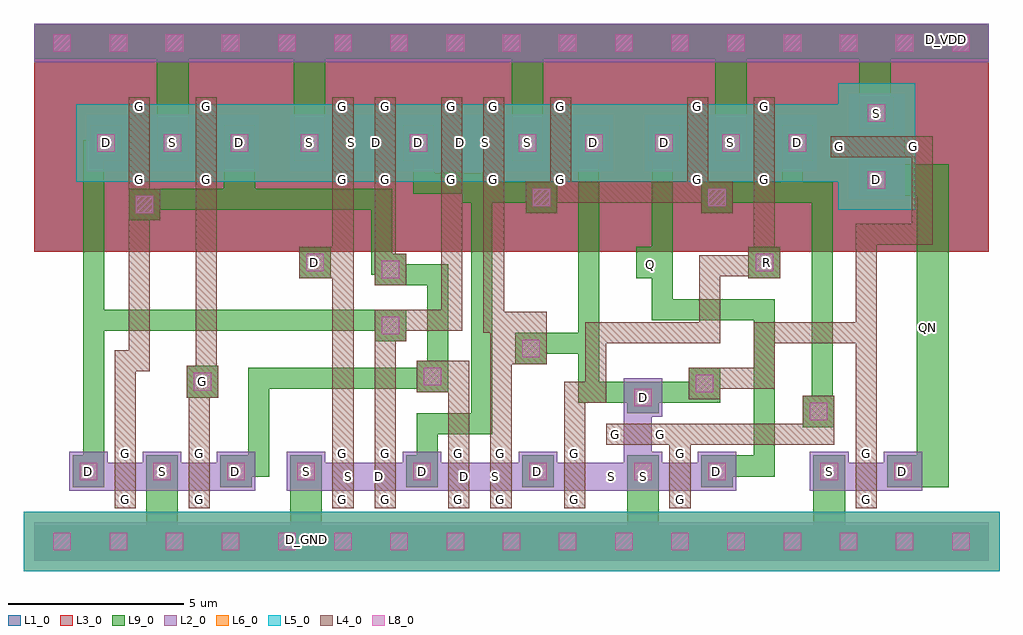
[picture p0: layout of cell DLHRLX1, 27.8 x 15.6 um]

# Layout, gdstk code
import gdstk
lib = gdstk.Library(unit=1e-6, precision=1e-09)
def R(c, l, rs):  # rectangles x0, y0, x1, y1
    for r in rs: c.add(gdstk.rectangle(r[:2], r[2:], *l))
def A(c, l, x, y, w, h, nx, ny, dx, dy):  # array of equal rectangles
    R(c, l, [(x+i*dx, y+j*dy, x+i*dx+w, y+j*dy+h) for i in range(nx) for j in range(ny)])
def P(c, l, *ps):  # polygons
    for p in ps: c.add(gdstk.Polygon(p, *l))
L1_0 = (1, 0)
L2_0 = (2, 0)
L3_0 = (3, 0)
L4_0 = (4, 0)
L5_0 = (5, 0)
L6_0 = (6, 0)
L8_0 = (8, 0)
L9_0 = (9, 0)

dlhrlx1 = lib.new_cell('DLHRLX1')
A(dlhrlx1, L1_0, 0, 8.8, 1.6, 6.5, 17, 1, 1.6, 0)
R(dlhrlx1, L1_0, [(21.7,8.8,26.3,14.8), (0,9.6,6,14.2), (1.9,9.6,7.9,14.2), (5.8,9.6,11.8,14.2), (7,9.6,13,14.2), (8.9,9.6,14.9,14.2), (10.1,9.6,16.1,14.2), (12,9.6,18,14.2), (15.9,9.6,21.9,14.2), (17.8,9.6,23.8,14.2)])
A(dlhrlx1, L2_0, 0, 0, 1.6, 1.1, 17, 2, 1.6, 14.2)
R(dlhrlx1, L2_0, [(1,2,2.1,3.1), (2.1,2,3.1,2.8), (3.1,2,4.2,3.1), (3.1,2,4.2,3.1), (4.2,2,5.2,2.8), (5.2,2,6.3,3.1), (7.2,2,8.3,3.1), (8.3,2,9.3,2.8), (8.4,2,9.5,2.8), (9.3,2,10.4,2.8), (9.5,2,10.5,2.8), (10.5,2,11.6,3.1), (10.5,2,11.6,3.1), (11.6,2,12.6,2.8), (11.7,2,12.8,2.8), (12.6,2,13.7,2.8), (12.8,2,13.8,2.8), (13.8,2,14.9,3.1), (13.8,2,14.9,3.1), (14.9,2,15.9,2.8), (15.9,2,17,2.8), (16.8,2,17.9,2.8), (16.8,2,17.9,3.1), (17.9,2,18.9,2.8), (18.9,2,20,3.1), (22.1,2,23.2,3.1), (23.2,2,24.2,2.8), (24.2,2,25.3,3.1), (16.8,3.1,17.6,4.1), (16.8,4.1,17.9,5.2), (23.2,10.3,24.8,11.4), (1.5,11.1,2.6,12.7), (2.6,11.1,3.4,12.7), (3.4,11.1,4.5,12.7), (3.4,11.1,4.5,12.7), (4.5,11.1,5.3,12.7), (5.3,11.1,6.4,12.7), (7.3,11.1,8.4,12.7), (8.4,11.1,9.2,12.7), (8.5,11.1,9.6,12.7), (9.2,11.1,10.3,12.7), (9.6,11.1,10.4,12.7), (10.4,11.1,11.5,12.7), (10.4,11.1,11.5,12.7), (11.5,11.1,12.3,12.7), (11.6,11.1,12.7,12.7), (12.3,11.1,13.4,12.7), (12.7,11.1,13.5,12.7), (13.5,11.1,14.6,12.7), (13.5,11.1,14.6,12.7), (14.6,11.1,15.4,12.7), (15.4,11.1,16.5,12.7), (17.4,11.1,18.5,12.7), (18.5,11.1,19.3,12.7), (19.3,11.1,20.4,12.7), (19.3,11.1,20.4,12.7), (20.4,11.1,21.2,12.7), (21.2,11.1,22.3,12.7), (23.2,11.4,24.8,12.2), (23.2,12.2,24.8,13.3)])
A(dlhrlx1, L3_0, 0, 8.8, 1.6, 6.5, 17, 1, 1.6, 0)
R(dlhrlx1, L3_0, [(21.7,8.8,26.3,14.8), (0,9.6,6,14.2), (1.9,9.6,7.9,14.2), (5.8,9.6,11.8,14.2), (7,9.6,13,14.2), (8.9,9.6,14.9,14.2), (10.1,9.6,16.1,14.2), (12,9.6,18,14.2), (15.9,9.6,21.9,14.2), (17.8,9.6,23.8,14.2)])
R(dlhrlx1, L4_0, [(2.3,1.5,2.9,3.3), (2.3,1.5,2.9,2), (4.4,1.5,5,3.3), (4.4,1.5,5,2), (8.5,1.5,9.1,3.3), (8.5,1.5,9.1,2), (9.7,1.5,10.3,3.3), (9.7,1.5,10.3,2), (11.8,1.5,12.4,3.3), (11.8,1.5,12.4,2), (13,1.5,13.6,3.3), (13,1.5,13.6,2), (15.1,1.5,15.7,3.3), (15.1,1.5,15.7,2), (18.1,1.5,18.7,3.3), (18.1,1.5,18.7,2), (23.4,1.5,24,3.3), (23.4,1.5,24,2), (13,2.7,13.6,6.5), (2.3,2.8,2.9,3.3), (4.4,2.8,5,3.3), (8.5,2.8,9.1,3.3), (9.7,2.8,10.3,3.3), (11.8,2.8,12.4,3.3), (13,2.8,13.6,3.3), (15.1,2.8,15.7,3.3), (18.1,2.8,18.7,3.3), (23.4,2.8,24,3.3), (2.3,3.3,2.9,6), (4.4,3.3,5,4.65), (8.5,3.3,9.1,11.1), (9.7,3.3,10.3,6.25), (16.3,3.3,16.8,3.9), (16.3,3.3,18.1,3.9), (17.6,3.3,18.1,3.9), (17.8,3.3,22.8,3.9), (21.9,3.8,22.8,4.7), (18.65,4.6,19.55,5.5), (4.35,4.65,5.25,5.55), (10.9,4.8,11.8,5.7), (18.65,4.9,21.1,5.5), (4.6,5.55,5.2,10.6), (13.25,5.6,14.6,6.5), (13.7,5.6,14.6,6.5), (9.7,6.25,10.6,7.15), (9.7,7.85,10.6,8.75), (7.55,8.05,8.45,8.95), (8.45,8.05,8.55,8.95), (20.35,8.05,21.25,8.95), (9.7,8.6,10.3,10.95), (2.7,9.7,3.6,10.6), (14,9.9,14.9,10.8), (19,9.9,19.9,10.8), (2.7,10.6,3.3,11.1), (2.7,10.6,3.3,13.2), (4.6,10.6,5.2,11.1), (4.6,10.6,5.2,13.2), (8.5,10.6,9.1,11.1), (8.5,10.6,9.1,13.2), (9.7,10.6,10.3,11.1), (9.7,10.6,10.3,13.2), (11.6,10.6,12.2,11.1), (11.6,10.6,12.2,13.2), (12.8,10.6,13.4,11.1), (12.8,10.6,13.4,13.2), (14.7,10.6,15.3,11.1), (14.7,10.6,15.3,13.2), (18.6,10.6,19.2,11.1), (18.6,10.6,19.2,13.2), (20.5,10.6,21.1,11.1), (20.5,10.6,21.1,13.2), (22.7,11.5,25.3,12.1), (22.7,11.5,23.2,12.1), (24.8,11.5,25.3,12.1), (2.7,12.7,3.3,13.2), (4.6,12.7,5.2,13.2), (8.5,12.7,9.1,13.2), (9.7,12.7,10.3,13.2), (11.6,12.7,12.2,13.2), (12.8,12.7,13.4,13.2), (14.7,12.7,15.3,13.2), (18.6,12.7,19.2,13.2), (20.5,12.7,21.1,13.2)])
P(dlhrlx1, L4_0, [(20.5,4.9),(21.1,4.9),(21.1,6.2),(24,6.2),(24,6.8),(20.5,6.8)],
  [(10.6,6.55),(12.2,6.55),(12.2,10.6),(11.6,10.6),(11.6,7.15),(10.6,7.15)],
  [(18.95,8.1),(21.1,8.1),(21.1,10.6),(20.5,10.6),(20.5,8.7),(18.95,8.7)],
  [(23.4,3.3),(24,3.3),(24,9),(25.6,9),(25.6,12.1),(25,12.1),(25,9.6),(23.4,9.6)],
  [(15.1,2.5),(15.7,2.5),(15.7,4.5),(16.3,4.5),(16.3,6.2),(19.55,6.2),(19.55,8.1),(18.95,8.1),(18.95,6.8),(15.7,6.8),(15.7,5.1),(15.1,5.1)],
  [(14.7,10.2),(19.2,10.2),(19.2,12.8),(18.6,12.8),(18.6,10.8),(14.7,10.8)],
  [(11.4,5.1),(11.8,5.1),(11.8,2.5),(12.4,2.5),(12.4,5.7),(11.4,5.7)],
  [(2.4,5.4),(3.3,5.4),(3.3,10.9),(2.7,10.9),(2.7,6),(2.4,6)],
  [(12.8,6.5),(14.6,6.5),(14.6,7.1),(13.4,7.1),(13.4,10.6),(12.8,10.6)])
A(dlhrlx1, L5_0, 1.6, -0.3, 1.6, 1.7, 15, 1, 1.6, 0)
R(dlhrlx1, L5_0, [(-0.3,-0.3,1.6,1.4), (25.6,-0.3,27.5,1.4), (22.9,10,25.1,13.6), (1.2,10.8,4.8,13), (3.1,10.8,6.7,13), (6.4,10.8,7.25,13), (7,10.8,10.6,13), (8.2,10.8,11.8,13), (10.1,10.8,13.7,13), (11.3,10.8,14.9,13), (13.2,10.8,16.8,13), (16.4,10.8,17.45,13), (17.1,10.8,20.7,13), (19,10.8,22.6,13), (22.3,10.8,23.15,13)])
A(dlhrlx1, L6_0, 1.6, -0.3, 1.6, 1.7, 15, 1, 1.6, 0)
R(dlhrlx1, L6_0, [(-0.3,-0.3,1.6,1.4), (25.6,-0.3,27.5,1.4), (22.9,10,25.1,13.6), (1.2,10.8,4.8,13), (3.1,10.8,6.7,13), (6.2,10.8,7.35,13), (7,10.8,10.6,13), (8.2,10.8,11.8,13), (10.1,10.8,13.7,13), (11.3,10.8,14.9,13), (13.2,10.8,16.8,13), (16.4,10.8,17.45,13), (17.1,10.8,20.7,13), (19,10.8,22.6,13), (22.1,10.8,23.25,13)])
A(dlhrlx1, L8_0, 0.55, 0.3, 0.5, 0.5, 17, 2, 1.6, 14.2)
R(dlhrlx1, L8_0, [(1.3,2.3,1.8,2.8), (3.4,2.3,3.9,2.8), (3.4,2.3,3.9,2.8), (5.5,2.3,6,2.8), (7.5,2.3,8,2.8), (10.8,2.3,11.3,2.8), (10.8,2.3,11.3,2.8), (14.1,2.3,14.6,2.8), (14.1,2.3,14.6,2.8), (17.1,2.3,17.6,2.8), (19.2,2.3,19.7,2.8), (22.4,2.3,22.9,2.8), (24.5,2.3,25,2.8), (22.1,4,22.6,4.5), (17.1,4.4,17.6,4.9), (18.85,4.8,19.35,5.3), (4.55,4.85,5.05,5.35), (11.1,5,11.6,5.5), (13.9,5.8,14.4,6.3), (9.9,6.45,10.4,6.95), (9.9,8.05,10.4,8.55), (7.75,8.25,8.25,8.75), (20.55,8.25,21.05,8.75), (2.9,9.9,3.4,10.4), (14.2,10.1,14.7,10.6), (19.2,10.1,19.7,10.6), (23.75,10.6,24.25,11.1), (1.8,11.65,2.3,12.15), (3.7,11.65,4.2,12.15), (3.7,11.65,4.2,12.15), (5.6,11.65,6.1,12.15), (7.6,11.65,8.1,12.15), (10.7,11.65,11.2,12.15), (10.7,11.65,11.2,12.15), (13.8,11.65,14.3,12.15), (13.8,11.65,14.3,12.15), (15.7,11.65,16.2,12.15), (17.7,11.65,18.2,12.15), (19.6,11.65,20.1,12.15), (19.6,11.65,20.1,12.15), (21.5,11.65,22,12.15), (23.75,12.5,24.25,13)])
A(dlhrlx1, L9_0, 0, 0, 1.6, 1, 17, 2, 1.6, 14.3)
R(dlhrlx1, L9_0, [(7.3,0,8.2,3), (7.45,0.3,8.05,0.9), (1.1,2.1,2,3), (3.2,2.1,4.1,3), (3.2,2.1,4.1,3), (5.3,2.1,6.2,3), (7.3,2.1,8.2,3), (10.6,2.1,11.5,3), (10.6,2.1,11.5,3), (13.9,2.1,14.8,3), (13.9,2.1,14.8,3), (16.9,2.1,17.8,3), (19,2.1,19.9,3), (22.2,2.1,23.1,3), (24.3,2.1,25.2,3), (21.9,3.8,22.8,4.7), (16.9,4.2,17.8,5.1), (16.6,4.5,19.55,5.1), (18.65,4.6,19.55,5.5), (4.35,4.65,5.25,5.55), (4.5,4.8,5.1,5.4), (10.9,4.8,11.8,5.7), (11.2,5.1,11.8,8.2), (13.7,5.6,14.6,6.5), (15.5,5.9,16.1,12.3), (9.7,6.25,10.6,7.15), (25.15,6.35,26.05,7.25), (1.7,6.55,9.8,7.15), (9.7,7.85,10.6,8.75), (9.75,7.85,11.8,8.45), (7.55,8.05,8.45,8.95), (17.15,8.05,18.05,8.95), (20.35,8.05,21.25,8.95), (7.7,8.2,8.3,8.8), (20.55,8.2,21.15,8.8), (17.6,8.3,18.2,11.8), (2.7,9.7,3.6,10.6), (14,9.9,14.9,10.8), (19,9.9,19.9,10.8), (5.4,10,6.3,12.3), (19.3,10.2,21.9,10.8), (21.3,10.2,21.9,12), (23.5,10.4,24.5,11.3), (1.6,11.4,2.5,12.4), (3.5,11.4,4.4,12.4), (3.5,11.4,4.4,12.4), (5.4,11.4,6.3,12.4), (7.4,11.4,8.3,12.4), (7.4,11.4,8.3,15.25), (10.5,11.4,11.4,12.4), (10.5,11.4,11.4,12.4), (13.6,11.4,14.5,12.4), (13.6,11.4,14.5,12.4), (13.6,11.4,14.5,15.25), (15.5,11.4,16.4,12.4), (17.5,11.4,18.4,12.4), (19.4,11.4,20.3,12.4), (19.4,11.4,20.3,12.4), (21.3,11.4,22.2,12.4), (3.5,11.5,4.4,15.2), (19.4,11.9,20.3,14.7), (23.5,12.3,24.5,13.2), (25.7,14.55,26.3,15.15)])
P(dlhrlx1, L9_0, [(21.5,0.1),(23.1,0.1),(23.1,3),(22.2,3),(22.2,1),(21.5,1)],
  [(21.3,10.2),(22.15,10.2),(22.15,4.1),(22.75,4.1),(22.75,10.8),(21.3,10.8)],
  [(1.4,2.4),(2,2.4),(2,11.4),(2.2,11.4),(2.2,12),(1.4,12)],
  [(2.3,0.1),(4.1,0.1),(4.1,3),(3.2,3),(3.2,1),(2.3,1)],
  [(10.8,10.45),(12.2,10.45),(12.2,10.2),(14.9,10.2),(14.9,10.8),(12.8,10.8),(12.8,11.05),(11.4,11.05),(11.4,12),(10.8,12)],
  [(10.9,2.4),(11.5,2.4),(11.5,3.6),(13.05,3.6),(13.05,10.8),(12.45,10.8),(12.45,4.2),(10.9,4.2)],
  [(13.7,5.75),(14.3,5.75),(14.3,5.9),(16.1,5.9),(16.1,6.5),(13.7,6.5)],
  [(15.5,4.5),(17.2,4.5),(17.2,5.1),(16.1,5.1),(16.1,6.5),(15.5,6.5)],
  [(23.6,10.4),(25.15,10.4),(25.15,3),(24.3,3),(24.3,2.1),(26.05,2.1),(26.05,11.3),(23.6,11.3)],
  [(16.9,0.1),(18.5,0.1),(18.5,1),(17.8,1),(17.8,3),(16.9,3)],
  [(17.45,8.05),(17.6,8.05),(17.6,6.85),(20.5,6.85),(20.5,3),(19.3,3),(19.3,2.4),(21.1,2.4),(21.1,7.45),(18.2,7.45),(18.2,8.65),(17.45,8.65)],
  [(3,10),(9.6,10),(9.6,8.15),(10.3,8.15),(10.3,8.75),(10.2,8.75),(10.2,10.6),(3,10.6)],
  [(23.5,12.3),(24.4,12.3),(24.4,14.3),(24.9,14.3),(24.9,15.2),(23.5,15.2)],
  [(5.6,2.4),(6.7,2.4),(6.7,4.9),(11.5,4.9),(11.5,5.5),(6.1,5.5),(6.1,3),(5.6,3)])
dlhrlx1.add(gdstk.Label('G', (12.1,1.752), layer=4, texttype=0))
dlhrlx1.add(gdstk.Label('G', (12.1,3.052), layer=4, texttype=0))
dlhrlx1.add(gdstk.Label('S', (13.151,2.401), layer=2, texttype=0))
dlhrlx1.add(gdstk.Label('D', (11.051,2.551), layer=9, texttype=0))
dlhrlx1.add(gdstk.Label('G', (10,1.752), layer=4, texttype=0))
dlhrlx1.add(gdstk.Label('G', (10,3.052), layer=4, texttype=0))
dlhrlx1.add(gdstk.Label('S', (8.949,2.401), layer=2, texttype=0))
dlhrlx1.add(gdstk.Label('D', (11.049,2.551), layer=9, texttype=0))
dlhrlx1.add(gdstk.Label('D', (9.849,2.401), layer=2, texttype=0))
dlhrlx1.add(gdstk.Label('G', (8.8,1.752), layer=4, texttype=0))
dlhrlx1.add(gdstk.Label('G', (8.8,3.052), layer=4, texttype=0))
dlhrlx1.add(gdstk.Label('S', (7.749,2.551), layer=9, texttype=0))
dlhrlx1.add(gdstk.Label('G', (13.1,10.852), layer=4, texttype=0))
dlhrlx1.add(gdstk.Label('G', (13.1,12.952), layer=4, texttype=0))
dlhrlx1.add(gdstk.Label('S', (14.051,11.901), layer=9, texttype=0))
dlhrlx1.add(gdstk.Label('D', (12.151,11.901), layer=2, texttype=0))
dlhrlx1.add(gdstk.Label('G', (11.9,10.852), layer=4, texttype=0))
dlhrlx1.add(gdstk.Label('G', (11.9,12.952), layer=4, texttype=0))
dlhrlx1.add(gdstk.Label('S', (12.851,11.901), layer=2, texttype=0))
dlhrlx1.add(gdstk.Label('D', (10.951,11.901), layer=9, texttype=0))
dlhrlx1.add(gdstk.Label('G', (10,10.852), layer=4, texttype=0))
dlhrlx1.add(gdstk.Label('G', (10,12.952), layer=4, texttype=0))
dlhrlx1.add(gdstk.Label('S', (9.049,11.901), layer=2, texttype=0))
dlhrlx1.add(gdstk.Label('D', (10.949,11.901), layer=9, texttype=0))
dlhrlx1.add(gdstk.Label('G', (8.8,10.852), layer=4, texttype=0))
dlhrlx1.add(gdstk.Label('G', (8.8,12.952), layer=4, texttype=0))
dlhrlx1.add(gdstk.Label('S', (7.849,11.901), layer=9, texttype=0))
dlhrlx1.add(gdstk.Label('D', (9.749,11.901), layer=2, texttype=0))
dlhrlx1.add(gdstk.Label('G', (18.9,10.852), layer=4, texttype=0))
dlhrlx1.add(gdstk.Label('G', (18.9,12.952), layer=4, texttype=0))
dlhrlx1.add(gdstk.Label('S', (19.851,11.901), layer=9, texttype=0))
dlhrlx1.add(gdstk.Label('D', (17.951,11.901), layer=9, texttype=0))
dlhrlx1.add(gdstk.Label('G', (18.4,1.752), layer=4, texttype=0))
dlhrlx1.add(gdstk.Label('G', (18.4,3.052), layer=4, texttype=0))
dlhrlx1.add(gdstk.Label('S', (17.349,2.401), layer=2, texttype=0))
dlhrlx1.add(gdstk.Label('D', (19.449,2.551), layer=9, texttype=0))
dlhrlx1.add(gdstk.Label('G', (3,10.852), layer=4, texttype=0))
dlhrlx1.add(gdstk.Label('G', (3,12.952), layer=4, texttype=0))
dlhrlx1.add(gdstk.Label('S', (3.951,11.901), layer=9, texttype=0))
dlhrlx1.add(gdstk.Label('D', (2.051,11.901), layer=9, texttype=0))
dlhrlx1.add(gdstk.Label('G', (4.9,10.852), layer=4, texttype=0))
dlhrlx1.add(gdstk.Label('G', (4.9,12.952), layer=4, texttype=0))
dlhrlx1.add(gdstk.Label('S', (3.949,11.901), layer=9, texttype=0))
dlhrlx1.add(gdstk.Label('D', (5.849,11.901), layer=9, texttype=0))
dlhrlx1.add(gdstk.Label('G', (4.7,1.752), layer=4, texttype=0))
dlhrlx1.add(gdstk.Label('G', (4.7,3.052), layer=4, texttype=0))
dlhrlx1.add(gdstk.Label('S', (3.649,2.551), layer=9, texttype=0))
dlhrlx1.add(gdstk.Label('D', (5.749,2.551), layer=9, texttype=0))
dlhrlx1.add(gdstk.Label('G', (2.6,1.752), layer=4, texttype=0))
dlhrlx1.add(gdstk.Label('G', (2.6,3.052), layer=4, texttype=0))
dlhrlx1.add(gdstk.Label('S', (3.651,2.551), layer=9, texttype=0))
dlhrlx1.add(gdstk.Label('D', (1.551,2.551), layer=9, texttype=0))
dlhrlx1.add(gdstk.Label('G', (20.8,10.852), layer=4, texttype=0))
dlhrlx1.add(gdstk.Label('G', (20.8,12.952), layer=4, texttype=0))
dlhrlx1.add(gdstk.Label('S', (19.849,11.901), layer=9, texttype=0))
dlhrlx1.add(gdstk.Label('D', (21.749,11.901), layer=9, texttype=0))
dlhrlx1.add(gdstk.Label('G', (15.4,1.752), layer=4, texttype=0))
dlhrlx1.add(gdstk.Label('G', (15.4,3.052), layer=4, texttype=0))
dlhrlx1.add(gdstk.Label('S', (16.451,2.401), layer=2, texttype=0))
dlhrlx1.add(gdstk.Label('D', (14.351,2.551), layer=9, texttype=0))
dlhrlx1.add(gdstk.Label('D', (12.251,2.401), layer=2, texttype=0))
dlhrlx1.add(gdstk.Label('G', (13.3,1.752), layer=4, texttype=0))
dlhrlx1.add(gdstk.Label('G', (13.3,3.052), layer=4, texttype=0))
dlhrlx1.add(gdstk.Label('S', (14.351,2.551), layer=9, texttype=0))
dlhrlx1.add(gdstk.Label('G', (22.952,11.8), layer=4, texttype=0))
dlhrlx1.add(gdstk.Label('G', (25.052,11.8), layer=4, texttype=0))
dlhrlx1.add(gdstk.Label('S', (24.001,12.751), layer=9, texttype=0))
dlhrlx1.add(gdstk.Label('D', (24.001,10.851), layer=9, texttype=0))
dlhrlx1.add(gdstk.Label('G', (23.7,1.752), layer=4, texttype=0))
dlhrlx1.add(gdstk.Label('G', (23.7,3.052), layer=4, texttype=0))
dlhrlx1.add(gdstk.Label('S', (22.649,2.551), layer=9, texttype=0))
dlhrlx1.add(gdstk.Label('D', (24.749,2.551), layer=9, texttype=0))
dlhrlx1.add(gdstk.Label('D', (17.351,4.649), layer=9, texttype=0))
dlhrlx1.add(gdstk.Label('S', (17.351,2.549), layer=9, texttype=0))
dlhrlx1.add(gdstk.Label('G', (17.852,3.6), layer=4, texttype=0))
dlhrlx1.add(gdstk.Label('G', (16.552,3.6), layer=4, texttype=0))
dlhrlx1.add(gdstk.Label('D', (15.949,11.901), layer=9, texttype=0))
dlhrlx1.add(gdstk.Label('S', (14.049,11.901), layer=9, texttype=0))
dlhrlx1.add(gdstk.Label('G', (15,12.952), layer=4, texttype=0))
dlhrlx1.add(gdstk.Label('G', (15,10.852), layer=4, texttype=0))
dlhrlx1.add(gdstk.Label('QN', (25.45,6.65), layer=50, texttype=0))
dlhrlx1.add(gdstk.Label('D_GND', (7.75,0.6), layer=50, texttype=0))
dlhrlx1.add(gdstk.Label('G', (4.8,5.1), layer=50, texttype=0))
dlhrlx1.add(gdstk.Label('Q', (17.55,8.45), layer=50, texttype=0))
dlhrlx1.add(gdstk.Label('R', (20.85,8.5), layer=50, texttype=0))
dlhrlx1.add(gdstk.Label('D_VDD', (26,14.85), layer=50, texttype=0))
dlhrlx1.add(gdstk.Label('D', (8,8.5), layer=50, texttype=0))

lib.write_gds('DLHRLX1.gds')
